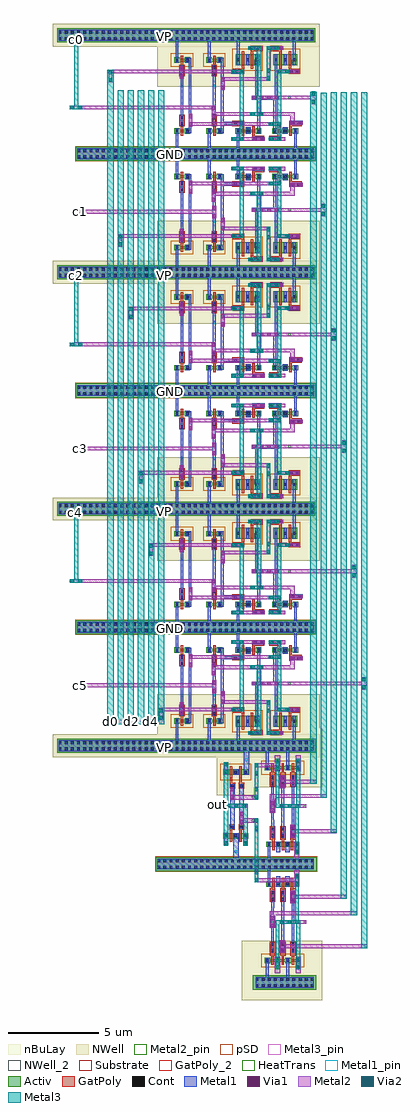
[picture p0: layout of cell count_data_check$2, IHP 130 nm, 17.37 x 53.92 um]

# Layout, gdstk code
from math import pi, radians
import gdstk
lib = gdstk.Library(unit=1e-6, precision=1e-09)
def R(c, l, rs):  # rectangles x0, y0, x1, y1
    for r in rs: c.add(gdstk.rectangle(r[:2], r[2:], *l))
def A(c, l, x, y, w, h, nx, ny, dx, dy):  # array of equal rectangles
    R(c, l, [(x+i*dx, y+j*dy, x+i*dx+w, y+j*dy+h) for i in range(nx) for j in range(ny)])
def P(c, l, *ps):  # polygons
    for p in ps: c.add(gdstk.Polygon(p, *l))
Activ = (1, 0)
GatPoly = (5, 0)
GatPoly_2 = (5, 2)
Cont = (6, 0)
Metal1 = (8, 0)
Metal1_pin = (8, 2)
Metal2 = (10, 0)
Metal2_pin = (10, 2)
pSD = (14, 0)
Via1 = (19, 0)
Via2 = (29, 0)
Metal3 = (30, 0)
Metal3_pin = (30, 2)
NWell = (31, 0)
NWell_2 = (31, 2)
nBuLay = (32, 0)
Substrate = (40, 0)
HeatTrans = (51, 0)

via_4_7_2 = lib.new_cell('Via$4$7$2')
R(via_4_7_2, Metal1, [(-0.105,-0.35,0.105,0.35)])
R(via_4_7_2, Metal2, [(-0.1,-0.35,0.1,0.35)])
R(via_4_7_2, Via1, [(-0.095,-0.3,0.095,-0.11), (-0.095,0.11,0.095,0.3)])

via_7_5_2 = lib.new_cell('Via$7$5$2')
R(via_7_5_2, Metal2, [(-0.1,-0.555,0.1,0.555)])
A(via_7_5_2, Via2, -0.095, -0.505, 0.19, 0.19, 1, 3, 0, 0.41)
R(via_7_5_2, Metal3, [(-0.1,-0.555,0.1,0.555)])

nmos_4_3_2 = lib.new_cell('nmos$4$3$2')
A(nmos_4_3_2, Activ, 0, 0, 0.3, 0.3, 4, 1, 0.51, 0)
R(nmos_4_3_2, Activ, [(0,0,1.83,0.3)])
A(nmos_4_3_2, GatPoly, 0.34, -0.18, 0.13, 0.66, 3, 1, 0.51, 0)
R(nmos_4_3_2, GatPoly_2, [(0.34,-0.18,0.47,0.48)])
A(nmos_4_3_2, Cont, 0.07, 0.07, 0.16, 0.16, 4, 1, 0.51, 0)
A(nmos_4_3_2, Metal1, 0.07, 0, 0.16, 0.3, 4, 1, 0.51, 0)
R(nmos_4_3_2, Metal1_pin, [(0.07,0,0.23,0.3), (0.58,0,0.74,0.3)])
A(nmos_4_3_2, HeatTrans, 0.34, -0.18, 0.13, 0.66, 3, 1, 0.51, 0)
nmos_4_3_2.add(gdstk.Label('nmos', (0.405,0.15), layer=63, texttype=0))
nmos_4_3_2.add(gdstk.Label('nmos', (0.405,0.15), layer=51, texttype=0))
nmos_4_3_2.add(gdstk.Label('nmos', (0.915,0.15), layer=51, texttype=0))
nmos_4_3_2.add(gdstk.Label('nmos', (1.425,0.15), layer=51, texttype=0))

ntap1_1_8 = lib.new_cell('ntap1$1$8')
R(ntap1_1_8, Activ, [(0,0,3.5,0.78)])
A(ntap1_1_8, Cont, 0.14, 0.14, 0.16, 0.16, 10, 2, 0.34, 0.34)
R(ntap1_1_8, Metal1, [(0.14,0.09,3.36,0.69)])
R(ntap1_1_8, Metal1_pin, [(0.14,0.09,3.36,0.69), (0.14,0.14,3.36,0.64)])
R(ntap1_1_8, NWell, [(-0.24,-0.24,3.74,1.02), (0,0,3.5,0.78)])
R(ntap1_1_8, NWell_2, [(0,0,3.5,0.78)])
ntap1_1_8.add(gdstk.Label('well', (1.75,0.01), layer=63, texttype=0))
ntap1_1_8.add(gdstk.Label('well', (1.75,0.01), layer=31, texttype=0))

ptap1_3_5_2 = lib.new_cell('ptap1$3$5$2')
R(ptap1_3_5_2, Activ, [(0,0,3.5,0.78)])
A(ptap1_3_5_2, Cont, 0.14, 0.14, 0.16, 0.16, 10, 2, 0.34, 0.34)
R(ptap1_3_5_2, Metal1, [(0.14,0.09,3.36,0.69), (0.14,0.14,3.36,0.64)])
R(ptap1_3_5_2, Metal1_pin, [(0.14,0.14,3.36,0.64)])
R(ptap1_3_5_2, pSD, [(-0.03,-0.03,3.53,0.81)])
R(ptap1_3_5_2, Substrate, [(0,0,3.5,0.78)])
ptap1_3_5_2.add(gdstk.Label('sub!', (1.75,0.01), layer=63, texttype=0))
ptap1_3_5_2.add(gdstk.Label('sub!', (1.75,0.01), layer=40, texttype=0))

via_5_7_2 = lib.new_cell('Via$5$7$2')
R(via_5_7_2, Metal2, [(-0.1,-0.35,0.1,0.35)])
R(via_5_7_2, Via2, [(-0.095,-0.3,0.095,-0.11), (-0.095,0.11,0.095,0.3)])
R(via_5_7_2, Metal3, [(-0.1,-0.35,0.1,0.35)])

via_6_5_2 = lib.new_cell('Via$6$5$2')
R(via_6_5_2, GatPoly, [(-0.32,-0.15,0.32,0.15)])
R(via_6_5_2, Cont, [(-0.25,-0.08,-0.09,0.08), (0.09,-0.08,0.25,0.08)])
R(via_6_5_2, Metal1, [(-0.3,-0.08,0.3,0.08)])

pmos_1_5_2 = lib.new_cell('pmos$1$5$2')
A(pmos_1_5_2, Activ, 0, 0, 0.3, 0.3, 4, 1, 0.57, 0)
R(pmos_1_5_2, Activ, [(0,0.075,2.01,0.225)])
A(pmos_1_5_2, GatPoly, 0.37, -0.105, 0.13, 0.51, 3, 1, 0.57, 0)
A(pmos_1_5_2, Cont, 0.07, 0.07, 0.16, 0.16, 4, 1, 0.57, 0)
A(pmos_1_5_2, Metal1, 0.07, 0.02, 0.16, 0.26, 4, 1, 0.57, 0)
R(pmos_1_5_2, pSD, [(-0.18,-0.225,2.19,0.525)])
R(pmos_1_5_2, NWell, [(-0.31,-0.31,2.32,0.61)])
R(pmos_1_5_2, Substrate, [(1.71,0,2.01,0.3)])
A(pmos_1_5_2, HeatTrans, 0.37, -0.105, 0.13, 0.51, 3, 1, 0.57, 0)
pmos_1_5_2.add(gdstk.Label('pmos', (0.435,0.15), layer=63, texttype=0))
pmos_1_5_2.add(gdstk.Label('pmos', (0.435,0.15), layer=51, texttype=0))
pmos_1_5_2.add(gdstk.Label('pmos', (1.005,0.15), layer=51, texttype=0))
pmos_1_5_2.add(gdstk.Label('pmos', (1.575,0.15), layer=51, texttype=0))

nand_3in_nmosx3_5_2 = lib.new_cell('NAND_3in_nmosx3$5$2')
R(nand_3in_nmosx3_5_2, GatPoly, [(0.115,-3.025,0.245,-2.915), (0.685,-3.025,0.815,-2.915), (0.035,-3.005,0.335,-2.895), (0.605,-3.005,0.905,-2.895), (1.165,-3.005,1.465,-2.895), (0.03,0.58,0.33,0.73), (0.6,0.58,0.9,0.73), (1.16,0.58,1.46,0.73), (0.68,0.68,0.81,0.77), (1.25,0.68,1.38,0.77)])
R(nand_3in_nmosx3_5_2, Metal1, [(-0.095,-4.15,0.065,-3.37), (0.375,-3.675,0.615,-3.415), (0.885,-3.675,1.125,-3.415), (0.375,-3.435,0.615,-3.095), (0.885,-3.435,1.125,-3.095), (0.67,-2.44,0.835,-2.09), (0.1,-2.42,0.265,-1.91), (0.67,-2.21,0.83,-1.27), (1.23,-2.21,1.39,-1.27), (0.1,-1.91,0.26,-0.56), (0.67,-1.31,0.83,-0.37), (1.23,-1.31,1.39,-0.37), (0.1,-0.62,0.26,-0.04), (1.23,-0.53,1.39,0), (0.67,-0.37,0.83,-0.11), (0.95,1,1.11,1.2), (-0.19,1.01,-0.03,1.15), (-0.19,1.115,-0.03,1.99), (0.95,1.115,1.11,1.94)])
R(nand_3in_nmosx3_5_2, Metal1_pin, [(0.44,-4.405,0.57,-4.275), (0.74,2.15,0.87,2.28)])
R(nand_3in_nmosx3_5_2, Metal2, [(1.375,-3.995,1.665,-3.795), (1.375,-3.795,1.665,-3.095), (1.155,-2.875,1.455,-2.175), (0.03,-1.51,0.33,-0.81), (1.62,-1.24,2.05,-1.04), (0.59,-0.14,0.89,0.56), (0.31,0.78,0.6,0.98), (1.45,0.78,1.74,0.98), (0.31,0.98,0.6,1.68), (1.45,0.98,1.74,1.68)])
R(nand_3in_nmosx3_5_2, Metal2_pin, [(1.255,-2.385,1.385,-2.255), (0.11,-1.215,0.24,-1.085), (1.905,-1.205,2.035,-1.075), (0.69,-0.07,0.82,0.06)])
R(nand_3in_nmosx3_5_2, Metal3, [(1.425,-3.105,1.625,-2.905), (1.425,-2.905,1.625,-2.5), (1.425,-2.5,1.625,-1.15), (0.36,-1.24,0.56,-0.97), (0.38,-1.24,0.565,-1.04), (1.66,-1.24,1.7,-1.09), (1.5,-1.09,1.7,0.17), (0.36,-0.97,0.56,0.26), (1.5,-0.03,1.7,0.62), (0.36,0.08,0.56,0.78), (1.5,0.62,1.7,0.72), (1.5,0.71,1.7,0.87)])
R(nand_3in_nmosx3_5_2, NWell, [(-1.52,-0.1,-0.85,3.17), (-0.85,-0.1,2.93,3.17)])
nand_3in_nmosx3_5_2.add(gdstk.Reference(via_4_7_2, (1.525,-3.445), rotation=pi))
nand_3in_nmosx3_5_2.add(gdstk.Reference(via_4_7_2, (1.315,-2.525), rotation=pi))
nand_3in_nmosx3_5_2.add(gdstk.Reference(via_4_7_2, (0.18,-1.16), rotation=pi))
nand_3in_nmosx3_5_2.add(gdstk.Reference(via_4_7_2, (0.75,0.21), rotation=pi))
nand_3in_nmosx3_5_2.add(gdstk.Reference(via_4_7_2, (0.46,1.13), rotation=pi))
nand_3in_nmosx3_5_2.add(gdstk.Reference(via_4_7_2, (1.6,1.13), rotation=pi))
nand_3in_nmosx3_5_2.add(gdstk.Reference(via_7_5_2, (1.12,-1.14), rotation=3*pi/2))
nand_3in_nmosx3_5_2.add(gdstk.Reference(nmos_4_3_2, (1.665,-3.095), rotation=pi))
nand_3in_nmosx3_5_2.add(gdstk.Reference(ntap1_1_8, (-0.9,1.81)))
nand_3in_nmosx3_5_2.add(gdstk.Reference(ptap1_3_5_2, (-0.89,-4.73)))
nand_3in_nmosx3_5_2.add(gdstk.Reference(via_5_7_2, (1.525,-3.445), rotation=pi))
nand_3in_nmosx3_5_2.add(gdstk.Reference(via_5_7_2, (0.46,1.13), rotation=pi))
nand_3in_nmosx3_5_2.add(gdstk.Reference(via_5_7_2, (1.6,1.13), rotation=pi))
nand_3in_nmosx3_5_2.add(gdstk.Reference(via_6_5_2, (0.185,-2.575), rotation=3*pi/2))
nand_3in_nmosx3_5_2.add(gdstk.Reference(via_6_5_2, (0.755,-2.575), rotation=3*pi/2))
nand_3in_nmosx3_5_2.add(gdstk.Reference(via_6_5_2, (1.315,-2.575), rotation=3*pi/2))
nand_3in_nmosx3_5_2.add(gdstk.Reference(via_6_5_2, (0.18,0.26), rotation=3*pi/2))
nand_3in_nmosx3_5_2.add(gdstk.Reference(via_6_5_2, (0.75,0.26), rotation=3*pi/2))
nand_3in_nmosx3_5_2.add(gdstk.Reference(via_6_5_2, (1.31,0.26), rotation=3*pi/2))
nand_3in_nmosx3_5_2.add(gdstk.Reference(pmos_1_5_2, (1.75,1.13), rotation=pi))
nand_3in_nmosx3_5_2.add(gdstk.Label('VP', (0.8,2.21), layer=8, texttype=25))
nand_3in_nmosx3_5_2.add(gdstk.Label('GND', (0.505,-4.335), layer=8, texttype=25))
nand_3in_nmosx3_5_2.add(gdstk.Label('y', (1.97,-1.14), layer=10, texttype=25))
nand_3in_nmosx3_5_2.add(gdstk.Label('b', (0.76,0.02), layer=10, texttype=25))
nand_3in_nmosx3_5_2.add(gdstk.Label('c', (0.17,-1.15), layer=10, texttype=25))
nand_3in_nmosx3_5_2.add(gdstk.Label('a', (1.315,-2.325), layer=10, texttype=25))

via_17_2 = lib.new_cell('Via$17$2')
R(via_17_2, Metal2, [(-0.35,-0.1,0.35,0.1)])
R(via_17_2, Via2, [(-0.3,-0.095,-0.11,0.095), (0.11,-0.095,0.3,0.095)])
R(via_17_2, Metal3, [(-0.35,-0.1,0.35,0.1)])

pmos_13_2 = lib.new_cell('pmos$13$2')
R(pmos_13_2, Activ, [(0,0,0.3,0.3), (0.57,0,0.87,0.3), (0,0.075,0.87,0.225)])
R(pmos_13_2, GatPoly, [(0.37,-0.105,0.5,0.405), (0.37,-0.105,0.5,0.405)])
R(pmos_13_2, Cont, [(0.07,0.07,0.23,0.23), (0.64,0.07,0.8,0.23)])
R(pmos_13_2, Metal1, [(0.07,0.02,0.23,0.28), (0.07,0.02,0.23,0.28), (0.64,0.02,0.8,0.28), (0.64,0.02,0.8,0.28)])
R(pmos_13_2, pSD, [(-0.18,-0.225,1.05,0.525)])
R(pmos_13_2, NWell, [(-0.31,-0.31,1.18,0.61)])
R(pmos_13_2, Substrate, [(0.57,0,0.87,0.3)])
R(pmos_13_2, HeatTrans, [(0.37,-0.105,0.5,0.405)])
pmos_13_2.add(gdstk.Label('pmos', (0.435,0.15), layer=63, texttype=0))
pmos_13_2.add(gdstk.Label('pmos', (0.435,0.15), layer=51, texttype=0))

ntap1_18_2 = lib.new_cell('ntap1$18$2')
R(ntap1_18_2, Activ, [(0,0,8.5,0.78)])
A(ntap1_18_2, Cont, 0.09, 0.14, 0.16, 0.16, 25, 2, 0.34, 0.34)
R(ntap1_18_2, Metal1, [(0.09,0.09,8.41,0.69)])
R(ntap1_18_2, Metal1_pin, [(0.09,0.09,8.41,0.69), (0.09,0.14,8.41,0.64)])
R(ntap1_18_2, NWell, [(-0.24,-0.24,8.74,1.02), (0,0,8.5,0.78)])
R(ntap1_18_2, NWell_2, [(0,0,8.5,0.78)])
R(ntap1_18_2, nBuLay, [(-0.24,-0.24,8.74,1.02)])
ntap1_18_2.add(gdstk.Label('well', (4.25,0.01), layer=63, texttype=0))
ntap1_18_2.add(gdstk.Label('well', (4.25,0.01), layer=31, texttype=0))

pmos_3_5_2 = lib.new_cell('pmos$3$5$2')
A(pmos_3_5_2, Activ, 0, 0, 0.3, 0.3, 3, 1, 0.51, 0)
R(pmos_3_5_2, Activ, [(0,0,1.32,0.6)])
R(pmos_3_5_2, GatPoly, [(0.34,-0.18,0.47,0.78), (0.34,-0.18,0.47,0.78), (0.85,-0.18,0.98,0.78)])
A(pmos_3_5_2, Cont, 0.07, 0.22, 0.16, 0.16, 3, 1, 0.51, 0)
R(pmos_3_5_2, Metal1, [(0.07,0,0.23,0.6), (0.07,0,0.23,0.6), (0.58,0,0.74,0.6), (0.58,0,0.74,0.6), (1.09,0,1.25,0.6)])
R(pmos_3_5_2, pSD, [(-0.18,-0.3,1.5,0.9)])
R(pmos_3_5_2, NWell, [(-0.31,-0.31,1.63,0.91)])
R(pmos_3_5_2, Substrate, [(1.02,0,1.32,0.3)])
R(pmos_3_5_2, HeatTrans, [(0.34,-0.18,0.47,0.78), (0.85,-0.18,0.98,0.78)])
pmos_3_5_2.add(gdstk.Label('pmos', (0.405,0.3), layer=63, texttype=0))
pmos_3_5_2.add(gdstk.Label('pmos', (0.405,0.3), layer=51, texttype=0))
pmos_3_5_2.add(gdstk.Label('pmos', (0.915,0.3), layer=51, texttype=0))

nmos_14_2 = lib.new_cell('nmos$14$2')
R(nmos_14_2, Activ, [(0,0,0.3,0.3), (0.57,0,0.87,0.3), (0,0.075,0.87,0.225)])
R(nmos_14_2, GatPoly, [(0.37,-0.105,0.5,0.405)])
R(nmos_14_2, GatPoly_2, [(0.37,-0.105,0.5,0.405)])
R(nmos_14_2, Cont, [(0.07,0.07,0.23,0.23), (0.64,0.07,0.8,0.23)])
R(nmos_14_2, Metal1, [(0.07,0.02,0.23,0.28), (0.64,0.02,0.8,0.28)])
R(nmos_14_2, Metal1_pin, [(0.07,0.02,0.23,0.28), (0.64,0.02,0.8,0.28)])
R(nmos_14_2, HeatTrans, [(0.37,-0.105,0.5,0.405)])
nmos_14_2.add(gdstk.Label('nmos', (0.435,0.15), layer=63, texttype=0))
nmos_14_2.add(gdstk.Label('nmos', (0.435,0.15), layer=51, texttype=0))

nmos_5_6_2 = lib.new_cell('nmos$5$6$2')
A(nmos_5_6_2, Activ, 0, 0, 0.3, 0.3, 3, 1, 0.57, 0)
R(nmos_5_6_2, Activ, [(0,0.075,1.44,0.225)])
R(nmos_5_6_2, GatPoly, [(0.37,-0.105,0.5,0.405), (0.94,-0.105,1.07,0.405)])
R(nmos_5_6_2, GatPoly_2, [(0.37,-0.105,0.5,0.405)])
A(nmos_5_6_2, Cont, 0.07, 0.07, 0.16, 0.16, 3, 1, 0.57, 0)
A(nmos_5_6_2, Metal1, 0.07, 0.02, 0.16, 0.26, 3, 1, 0.57, 0)
R(nmos_5_6_2, Metal1_pin, [(0.07,0.02,0.23,0.28), (0.64,0.02,0.8,0.28)])
R(nmos_5_6_2, HeatTrans, [(0.37,-0.105,0.5,0.405), (0.94,-0.105,1.07,0.405)])
nmos_5_6_2.add(gdstk.Label('nmos', (0.435,0.15), layer=63, texttype=0))
nmos_5_6_2.add(gdstk.Label('nmos', (0.435,0.15), layer=51, texttype=0))
nmos_5_6_2.add(gdstk.Label('nmos', (1.005,0.15), layer=51, texttype=0))

via_6_7_2 = lib.new_cell('Via$6$7$2')
R(via_6_7_2, GatPoly, [(-0.15,-0.32,0.15,0.32)])
R(via_6_7_2, Cont, [(-0.08,-0.25,0.08,-0.09), (-0.08,0.09,0.08,0.25)])
R(via_6_7_2, Metal1, [(-0.08,-0.3,0.08,0.3)])

via_7_7_2 = lib.new_cell('Via$7$7$2')
R(via_7_7_2, Metal1, [(-0.76,-0.105,0.76,0.105)])
R(via_7_7_2, Metal2, [(-0.76,-0.1,0.76,0.1)])
A(via_7_7_2, Via1, -0.71, -0.095, 0.19, 0.19, 4, 1, 0.41, 0)

via_9_5_2 = lib.new_cell('Via$9$5$2')
R(via_9_5_2, Metal1, [(-0.35,-0.105,0.35,0.105)])
R(via_9_5_2, Metal2, [(-0.35,-0.1,0.35,0.1)])
R(via_9_5_2, Via1, [(-0.3,-0.095,-0.11,0.095), (0.11,-0.095,0.3,0.095)])

via_19_2 = lib.new_cell('Via$19$2')
R(via_19_2, Metal2, [(-0.35,-0.1,0.35,0.1)])
R(via_19_2, Via2, [(-0.3,-0.095,-0.11,0.095), (0.11,-0.095,0.3,0.095)])
R(via_19_2, Metal3, [(-0.35,-0.1,0.35,0.1)])

ptap1_11_2 = lib.new_cell('ptap1$11$2')
R(ptap1_11_2, Activ, [(0,0,8.5,0.78)])
A(ptap1_11_2, Cont, 0.09, 0.14, 0.16, 0.16, 25, 2, 0.34, 0.34)
R(ptap1_11_2, Metal1, [(0.09,0.09,8.41,0.69), (0.09,0.14,8.41,0.64)])
R(ptap1_11_2, Metal1_pin, [(0.09,0.14,8.41,0.64)])
R(ptap1_11_2, pSD, [(-0.03,-0.03,8.53,0.81)])
R(ptap1_11_2, Substrate, [(0,0,8.5,0.78)])
ptap1_11_2.add(gdstk.Label('sub!', (4.25,0.01), layer=63, texttype=0))
ptap1_11_2.add(gdstk.Label('sub!', (4.25,0.01), layer=40, texttype=0))

xnor_5_2 = lib.new_cell('XNOR$5$2')
R(xnor_5_2, GatPoly, [(5.14,-5.055,5.24,-4.76), (6.64,-5.055,6.74,-4.76), (7.18,-4.34,7.31,-4.24), (4.57,-4.275,4.7,-4.175), (7.18,-4.25,7.31,-3.935), (4.68,-4.24,4.7,-3.94)])
R(xnor_5_2, Metal1, [(2.68,-5.94,2.84,-4.95), (7.45,-5.94,7.61,-4.98), (0.9,-5.86,1.06,-5.03), (4.27,-5.77,4.43,-4.955), (4.27,-5.275,4.43,-4.635), (0.9,-5.155,1.06,-4.575), (2.68,-5.155,2.84,-4.575), (7.45,-5.145,7.61,-4.635), (4.78,-4.665,5.01,-4.615), (5.01,-4.665,5.06,-4.305), (6.82,-4.665,7.05,-4.615), (7.05,-4.665,7.1,-4.305), (1.63,-4.635,1.78,-4.375), (3.41,-4.635,3.56,-4.375), (4.78,-4.615,5.01,-4.355), (6.82,-4.615,7.05,-4.355), (5.41,-4.46,5.57,-4.32), (6.31,-4.44,6.47,-4.25), (1.62,-4.385,1.78,-2.985), (3.4,-4.385,3.56,-2.985), (5.41,-4.375,5.57,-3.715), (6.31,-4.375,6.47,-3.715), (4.78,-4.355,5.01,-4.305), (6.82,-4.355,7.05,-4.305), (3.4,-4.17,4.06,-4.01), (1.18,-3.825,1.34,-2.425), (2.96,-3.825,3.12,-2.425), (5.41,-3.795,5.57,-3.135), (6.31,-3.795,6.47,-3.135), (6.31,-3.725,6.47,-3.065), (5.41,-3.715,5.57,-3.055), (1.62,-3.38,1.78,-1.78), (5.41,-3.3,5.57,-2.67), (3.4,-3.24,3.56,-1.48), (6.31,-3.24,6.47,-2.67), (5.31,-2.775,5.47,-2.09), (6.37,-2.67,6.53,-2.05), (2.96,-2.55,3.12,-1.53), (1.18,-2.51,1.34,-1.5), (5.31,-2.09,5.47,-1.09), (6.37,-2.09,6.53,-1.09), (1.62,-2.04,1.78,-0.64), (3.4,-2.04,3.56,-0.64), (1.62,-1.86,1.78,-0.46), (3.4,-1.86,3.56,-0.46), (1.18,-1.56,1.34,-1.44), (2.96,-1.56,3.12,-1.44), (6.37,-1.33,6.53,-0.87), (5.31,-1.31,5.47,-0.87), (0.9,-0.57,1.06,-0.38), (2.68,-0.55,2.84,-0.38), (0.9,-0.46,1.06,0.39), (2.68,-0.46,2.84,0.39), (4.29,-0.37,4.45,-0.25), (7.39,-0.37,7.55,-0.23), (4.29,-0.27,4.45,0.49), (7.39,-0.27,7.55,0.51), (2.68,0.27,2.84,0.79), (0.9,0.39,1.06,0.75)])
P(xnor_5_2, Metal1, [(0.9,-0.4),(0.9,-0.4),(0.9,-0.4),(0.9,-0.4)])
R(xnor_5_2, Metal1_pin, [(4.265,-5.825,4.395,-5.695), (1.195,-2.1,1.325,-1.97), (2.975,-2.08,3.105,-1.95), (4.205,0.695,4.335,0.825)])
R(xnor_5_2, Metal2, [(4.68,-5.05,5.4,-4.85), (6.05,-5.045,6.81,-4.845), (6.64,-5.045,6.96,-4.845), (1.64,-4.225,4.15,-4.025), (3.97,-4.225,6.48,-4.025), (7.24,-4.05,7.48,-3.95), (7.24,-3.955,7.48,-3.485), (2.91,-3.665,5.42,-3.465), (4.97,-3.665,7.48,-3.465), (6.32,-2.77,7.32,-2.57), (3.59,-1.74,6.1,-1.54), (1.23,-1.33,3.74,-1.13), (1.48,-1.33,3.99,-1.13), (6.605,-1.31,7.07,-1.11)])
R(xnor_5_2, Metal2_pin, [(7.135,-2.735,7.265,-2.605)])
R(xnor_5_2, Metal3, [(6.51,-5.04,6.75,-3.035), (4.44,-4.905,4.68,-2.225), (6.51,-4.22,6.75,-2.215), (5.39,-3.635,5.63,-0.955), (6.51,-2.31,6.75,-1.22), (4.44,-2.225,4.68,-1.33), (5.93,-1.11,6.13,-1.01), (5.93,-1.03,6.13,0.16), (5.39,-0.955,5.63,0.07)])
R(xnor_5_2, NWell, [(-0.11,-2.08,8.87,0.37), (0.18,-1.74,8.17,0.76)])
xnor_5_2.add(gdstk.Reference(pmos_13_2, (2.61,-0.75)))
xnor_5_2.add(gdstk.Reference(ntap1_18_2, (0.13,0.38)))
xnor_5_2.add(gdstk.Reference(pmos_3_5_2, (6.3,-0.88)))
xnor_5_2.add(gdstk.Reference(nmos_14_2, (2.61,-4.66)))
xnor_5_2.add(gdstk.Reference(nmos_5_6_2, (4.2,-4.66)))
xnor_5_2.add(gdstk.Reference(nmos_5_6_2, (6.24,-4.66)))
xnor_5_2.add(gdstk.Reference(pmos_13_2, (0.83,-0.75)))
xnor_5_2.add(gdstk.Reference(pmos_3_5_2, (4.22,-0.88)))
xnor_5_2.add(gdstk.Reference(nmos_14_2, (0.83,-4.66)))
xnor_5_2.add(gdstk.Reference(via_6_7_2, (1.26,-3.94)))
xnor_5_2.add(gdstk.Reference(via_6_7_2, (1.26,-1.17)))
xnor_5_2.add(gdstk.Reference(via_6_7_2, (7.47,-1.21), rotation=pi/2))
xnor_5_2.add(gdstk.Reference(via_6_7_2, (5.39,0.05), rotation=pi/2))
xnor_5_2.add(gdstk.Reference(via_6_7_2, (6.45,0.05), rotation=pi/2))
xnor_5_2.add(gdstk.Reference(via_6_7_2, (5.48,-4.91), rotation=pi/2))
xnor_5_2.add(gdstk.Reference(via_6_7_2, (7.54,-4.09), rotation=pi/2))
xnor_5_2.add(gdstk.Reference(via_6_7_2, (4.36,-4.09), rotation=pi/2))
xnor_5_2.add(gdstk.Reference(via_6_7_2, (4.37,-1.21), rotation=pi/2))
xnor_5_2.add(gdstk.Reference(via_7_7_2, (5.87,-2.67)))
xnor_5_2.add(gdstk.Reference(via_6_7_2, (6.4,-4.91), rotation=pi/2))
xnor_5_2.add(gdstk.Reference(via_6_7_2, (3.04,-3.94)))
xnor_5_2.add(gdstk.Reference(via_6_7_2, (3.04,-1.17)))
xnor_5_2.add(gdstk.Reference(via_9_5_2, (1.24,-1.28), rotation=pi/2))
xnor_5_2.add(gdstk.Reference(via_9_5_2, (4.34,-1.23), rotation=pi))
xnor_5_2.add(gdstk.Reference(via_19_2, (4.33,-1.23)))
xnor_5_2.add(gdstk.Reference(via_19_2, (4.33,-4.95)))
xnor_5_2.add(gdstk.Reference(via_9_5_2, (5.48,-4.95)))
xnor_5_2.add(gdstk.Reference(via_9_5_2, (6.4,-4.95)))
xnor_5_2.add(gdstk.Reference(via_9_5_2, (1.73,-3.92), rotation=pi/2))
xnor_5_2.add(gdstk.Reference(via_19_2, (6.4,-4.95)))
xnor_5_2.add(gdstk.Reference(via_19_2, (6.4,-4.13)))
xnor_5_2.add(gdstk.Reference(via_9_5_2, (7.42,-1.22)))
xnor_5_2.add(gdstk.Reference(via_9_5_2, (3.01,-3.46), rotation=pi/2))
xnor_5_2.add(gdstk.Reference(via_9_5_2, (7.59,-4.06)))
xnor_5_2.add(gdstk.Reference(via_19_2, (5.39,-3.57)))
xnor_5_2.add(gdstk.Reference(via_19_2, (5.28,0.07)))
xnor_5_2.add(gdstk.Reference(via_19_2, (6.86,-1.22)))
xnor_5_2.add(gdstk.Reference(via_9_5_2, (3.51,-1.89), rotation=pi/2))
xnor_5_2.add(gdstk.Reference(via_19_2, (6.03,-1.39), rotation=pi/2))
xnor_5_2.add(gdstk.Reference(via_9_5_2, (5.34,0.07)))
xnor_5_2.add(gdstk.Reference(via_9_5_2, (6.5,0.07)))
xnor_5_2.add(gdstk.Reference(via_19_2, (6.28,0.07)))
xnor_5_2.add(gdstk.Reference(ptap1_11_2, (0.14,-6.16)))
xnor_5_2.add(gdstk.Label('GND', (4.33,-5.76), layer=8, texttype=25))
xnor_5_2.add(gdstk.Label('VP', (4.27,0.76), layer=8, texttype=25))
xnor_5_2.add(gdstk.Label('a', (1.26,-2.03), layer=8, texttype=25))
xnor_5_2.add(gdstk.Label('b', (3.04,-2.01), layer=8, texttype=25))
xnor_5_2.add(gdstk.Label('y', (7.2,-2.67), layer=10, texttype=25))

via_16_2 = lib.new_cell('Via$16$2')
R(via_16_2, Metal1, [(-0.35,-0.105,0.35,0.105)])
R(via_16_2, Metal2, [(-0.35,-0.1,0.35,0.1)])
R(via_16_2, Via1, [(-0.3,-0.095,-0.11,0.095), (0.11,-0.095,0.3,0.095)])

ntap1_16_2 = lib.new_cell('ntap1$16$2')
R(ntap1_16_2, Activ, [(0,0,7.8,0.78)])
A(ntap1_16_2, Cont, 0.08, 0.14, 0.16, 0.16, 23, 2, 0.34, 0.34)
R(ntap1_16_2, Metal1, [(0.08,0.09,7.72,0.69)])
R(ntap1_16_2, Metal1_pin, [(0.08,0.09,7.72,0.69), (0.08,0.14,7.72,0.64)])
R(ntap1_16_2, NWell, [(-0.24,-0.24,8.04,1.02), (0,0,7.8,0.78)])
R(ntap1_16_2, NWell_2, [(0,0,7.8,0.78)])
R(ntap1_16_2, nBuLay, [(-0.24,-0.24,8.04,1.02)])
ntap1_16_2.add(gdstk.Label('well', (3.9,0.01), layer=63, texttype=0))
ntap1_16_2.add(gdstk.Label('well', (3.9,0.01), layer=31, texttype=0))

ptap1_8_2 = lib.new_cell('ptap1$8$2')
R(ptap1_8_2, Activ, [(0,0,7.8,0.78)])
A(ptap1_8_2, Cont, 0.08, 0.14, 0.16, 0.16, 23, 2, 0.34, 0.34)
R(ptap1_8_2, Metal1, [(0.08,0.09,7.72,0.69), (0.08,0.14,7.72,0.64)])
R(ptap1_8_2, Metal1_pin, [(0.08,0.14,7.72,0.64)])
R(ptap1_8_2, pSD, [(-0.03,-0.03,7.83,0.81)])
R(ptap1_8_2, Substrate, [(0,0,7.8,0.78)])
ptap1_8_2.add(gdstk.Label('sub!', (3.9,0.01), layer=63, texttype=0))
ptap1_8_2.add(gdstk.Label('sub!', (3.9,0.01), layer=40, texttype=0))

via_20_1 = lib.new_cell('Via$20$1')
R(via_20_1, Metal2, [(-0.1,-0.35,0.1,0.35)])
R(via_20_1, Via2, [(-0.095,-0.3,0.095,-0.11), (-0.095,0.11,0.095,0.3)])
R(via_20_1, Metal3, [(-0.1,-0.35,0.1,0.35)])

pmos_18 = lib.new_cell('pmos$18')
R(pmos_18, Activ, [(0,0,0.3,0.3), (0,0,0.83,0.3), (0.53,0,0.83,0.3)])
R(pmos_18, GatPoly, [(0.34,-0.18,0.49,0.48), (0.34,-0.18,0.49,0.48)])
R(pmos_18, Cont, [(0.07,0.07,0.23,0.23), (0.6,0.07,0.76,0.23)])
R(pmos_18, Metal1, [(0.07,0,0.23,0.3), (0.07,0,0.23,0.3), (0.6,0,0.76,0.3), (0.6,0,0.76,0.3)])
R(pmos_18, pSD, [(-0.18,-0.3,1.01,0.6)])
R(pmos_18, NWell, [(-0.31,-0.31,1.14,0.61)])
R(pmos_18, Substrate, [(0.53,0,0.83,0.3)])
R(pmos_18, HeatTrans, [(0.34,-0.18,0.49,0.48)])
pmos_18.add(gdstk.Label('pmos', (0.415,0.15), layer=63, texttype=0))
pmos_18.add(gdstk.Label('pmos', (0.415,0.15), layer=51, texttype=0))

ntap1_23 = lib.new_cell('ntap1$23')
R(ntap1_23, Activ, [(0,0,1.6,0.78)])
A(ntap1_23, Cont, 0.21, 0.14, 0.16, 0.16, 4, 2, 0.34, 0.34)
R(ntap1_23, Metal1, [(0.21,0.09,1.39,0.69)])
R(ntap1_23, Metal1_pin, [(0.21,0.09,1.39,0.69), (0.21,0.14,1.39,0.64)])
R(ntap1_23, NWell, [(-0.24,-0.24,1.84,1.02), (0,0,1.6,0.78)])
R(ntap1_23, NWell_2, [(0,0,1.6,0.78)])
R(ntap1_23, nBuLay, [(-0.24,-0.24,1.84,1.02)])
ntap1_23.add(gdstk.Label('well', (0.8,0.01), layer=63, texttype=0))
ntap1_23.add(gdstk.Label('well', (0.8,0.01), layer=31, texttype=0))

via_5_12 = lib.new_cell('Via$5$12')
R(via_5_12, GatPoly, [(-0.15,-0.15,0.15,0.15)])
R(via_5_12, Cont, [(-0.08,-0.08,0.08,0.08)])
R(via_5_12, Metal1, [(-0.13,-0.08,0.13,0.08)])

via_6_12 = lib.new_cell('Via$6$12')
R(via_6_12, Metal1, [(-0.105,-0.35,0.105,0.35)])
R(via_6_12, Metal2, [(-0.1,-0.35,0.1,0.35)])
R(via_6_12, Via1, [(-0.095,-0.3,0.095,-0.11), (-0.095,0.11,0.095,0.3)])

ptap1_16 = lib.new_cell('ptap1$16')
R(ptap1_16, Activ, [(0,0,1.6,0.78)])
A(ptap1_16, Cont, 0.21, 0.14, 0.16, 0.16, 4, 2, 0.34, 0.34)
R(ptap1_16, Metal1, [(0.21,0.09,1.39,0.69), (0.21,0.14,1.39,0.64)])
R(ptap1_16, Metal1_pin, [(0.21,0.14,1.39,0.64)])
R(ptap1_16, pSD, [(-0.03,-0.03,1.63,0.81)])
R(ptap1_16, Substrate, [(0,0,1.6,0.78)])
ptap1_16.add(gdstk.Label('sub!', (0.8,0.01), layer=63, texttype=0))
ptap1_16.add(gdstk.Label('sub!', (0.8,0.01), layer=40, texttype=0))

nmos_19 = lib.new_cell('nmos$19')
R(nmos_19, Activ, [(0,0,0.3,0.3), (0,0,0.83,0.3), (0.53,0,0.83,0.3)])
R(nmos_19, GatPoly, [(0.34,-0.18,0.49,0.48)])
R(nmos_19, GatPoly_2, [(0.34,-0.18,0.49,0.48)])
R(nmos_19, Cont, [(0.07,0.07,0.23,0.23), (0.6,0.07,0.76,0.23)])
R(nmos_19, Metal1, [(0.07,0,0.23,0.3), (0.6,0,0.76,0.3)])
R(nmos_19, Metal1_pin, [(0.07,0,0.23,0.3), (0.6,0,0.76,0.3)])
R(nmos_19, HeatTrans, [(0.34,-0.18,0.49,0.48)])
nmos_19.add(gdstk.Label('nmos', (0.415,0.15), layer=63, texttype=0))
nmos_19.add(gdstk.Label('nmos', (0.415,0.15), layer=51, texttype=0))

via_25_1 = lib.new_cell('Via$25$1')
R(via_25_1, Metal2, [(-0.1,-0.35,0.1,0.35)])
R(via_25_1, Via2, [(-0.095,-0.3,0.095,-0.11), (-0.095,0.11,0.095,0.3)])
R(via_25_1, Metal3, [(-0.1,-0.35,0.1,0.35)])

via_7_12 = lib.new_cell('Via$7$12')
R(via_7_12, Metal2, [(-0.555,-0.1,0.555,0.1)])
A(via_7_12, Via2, -0.505, -0.095, 0.19, 0.19, 3, 1, 0.41, 0)
R(via_7_12, Metal3, [(-0.555,-0.1,0.555,0.1)])

nor_2in_4 = lib.new_cell('NOR_2in$4')
R(nor_2in_4, GatPoly, [(4.19,0.13,4.34,0.41), (4.72,0.14,4.87,0.41)])
R(nor_2in_4, Metal1, [(3.82,-4.64,5.18,-4.04), (4.38,0.59,4.68,0.89)])
R(nor_2in_4, Metal1_pin, [(4.475,-3.705,4.605,-3.575), (5.065,1.365,5.195,1.495)])
R(nor_2in_4, Metal2, [(3.4,-1.23,5.105,-1)])
R(nor_2in_4, Metal2_pin, [(5.415,-2.005,5.545,-1.875), (3.405,-1.185,3.535,-1.055), (5.415,-0.715,5.545,-0.585)])
R(nor_2in_4, NWell, [(3.48,-0.55,5.56,2.93)])
nor_2in_4.add(gdstk.FlexPath([(5.13,0.59),(5.13,2.5)], 0.3, ends="flush", simple_path=True, layer=8, datatype=0))  # Metal1
nor_2in_4.add(gdstk.FlexPath([(4.85,0.07),(4.85,-2.38)], 0.25, ends="flush", simple_path=True, layer=8, datatype=0))  # Metal1
nor_2in_4.add(gdstk.FlexPath([(4.34,0.07),(4.34,-2.38)], 0.25, ends="flush", simple_path=True, layer=8, datatype=0))  # Metal1
nor_2in_4.add(gdstk.FlexPath([(4.54,-2.63),(4.54,-4.04)], 0.3, ends="flush", simple_path=True, layer=8, datatype=0))  # Metal1
nor_2in_4.add(gdstk.FlexPath([(3.995,-2.62),(3.995,-3.32)], 0.25, ends="flush", simple_path=True, layer=10, datatype=0))  # Metal2
nor_2in_4.add(gdstk.FlexPath([(5.06,-2.63),(5.06,-3.33)], 0.25, ends="flush", simple_path=True, layer=10, datatype=0))  # Metal2
nor_2in_4.add(gdstk.FlexPath([(4,1.29),(4,0.59)], 0.25, ends="flush", simple_path=True, layer=10, datatype=0))  # Metal2
nor_2in_4.add(gdstk.FlexPath([(4.23,-0.65),(5.56,-0.65)], 0.25, ends="flush", simple_path=True, layer=10, datatype=0))  # Metal2
nor_2in_4.add(gdstk.FlexPath([(4.745,-1.945),(5.56,-1.945)], 0.25, ends="flush", simple_path=True, layer=10, datatype=0))  # Metal2
nor_2in_4.add(gdstk.FlexPath([(4,-3.32),(4,1.29)], 0.25, ends="flush", simple_path=True, layer=30, datatype=0))  # Metal3
nor_2in_4.add(gdstk.FlexPath([(5.055,-3.33),(5.055,-1)], 0.25, ends="flush", simple_path=True, layer=30, datatype=0))  # Metal3
nor_2in_4.add(gdstk.Reference(pmos_18, (5.21,0.59), rotation=pi, x_reflection=True))
nor_2in_4.add(gdstk.Reference(pmos_18, (4.68,0.59), rotation=pi, x_reflection=True))
nor_2in_4.add(gdstk.Reference(ntap1_23, (5.32,1.81), rotation=pi, x_reflection=True))
nor_2in_4.add(gdstk.Reference(via_5_12, (4.85,-0.01), rotation=pi, x_reflection=True))
nor_2in_4.add(gdstk.Reference(via_5_12, (4.34,-0.01), rotation=pi, x_reflection=True))
nor_2in_4.add(gdstk.Reference(via_5_12, (4.85,-2.3), rotation=pi, x_reflection=True))
nor_2in_4.add(gdstk.Reference(via_5_12, (4.33,-2.3), rotation=pi, x_reflection=True))
nor_2in_4.add(gdstk.Reference(via_6_12, (4.845,-1.79), rotation=pi, x_reflection=True))
nor_2in_4.add(gdstk.Reference(via_6_12, (4.325,-0.44), rotation=pi, x_reflection=True))
nor_2in_4.add(gdstk.Reference(ptap1_16, (5.32,-4.73), rotation=pi, x_reflection=True))
nor_2in_4.add(gdstk.Reference(nmos_19, (5.21,-2.93), rotation=pi, x_reflection=True))
nor_2in_4.add(gdstk.Reference(nmos_19, (4.68,-2.93), rotation=pi, x_reflection=True))
nor_2in_4.add(gdstk.Reference(via_25_1, (4,0.94), rotation=pi, x_reflection=True))
nor_2in_4.add(gdstk.Reference(via_6_12, (3.995,0.94), rotation=pi, x_reflection=True))
nor_2in_4.add(gdstk.Reference(via_25_1, (4,-2.97), rotation=pi, x_reflection=True))
nor_2in_4.add(gdstk.Reference(via_6_12, (3.995,-2.97), rotation=pi, x_reflection=True))
nor_2in_4.add(gdstk.Reference(via_25_1, (5.06,-2.98), rotation=pi, x_reflection=True))
nor_2in_4.add(gdstk.Reference(via_6_12, (5.055,-2.98), rotation=pi, x_reflection=True))
nor_2in_4.add(gdstk.Reference(via_7_12, (4.575,-1.12), rotation=pi, x_reflection=True))
nor_2in_4.add(gdstk.Label('gd', (4.54,-3.64), layer=8, texttype=25))
nor_2in_4.add(gdstk.Label('vp', (5.13,1.43), layer=8, texttype=25))
nor_2in_4.add(gdstk.Label('Out', (3.55,-1.12), layer=10, texttype=25))
nor_2in_4.add(gdstk.Label('A', (5.48,-0.65), layer=10, texttype=25))
nor_2in_4.add(gdstk.Label('B', (5.48,-1.94), layer=10, texttype=25))

count_data_check_2 = lib.new_cell('count_data_check$2')
R(count_data_check_2, Metal1_pin, [(15.9,-8.04,16,-7.94), (16.26,-1.45,16.36,-1.35), (15.9,5.03,16,5.13), (16.26,11.66,16.36,11.76), (15.9,18.06,16,18.16), (16.26,24.72,16.36,24.82), (15.9,31.28,16,31.38)])
A(count_data_check_2, Metal2, 11.24, -4.64, 0.15, 0.2, 1, 3, 0, 13.08)
A(count_data_check_2, Metal2, 11.39, -4.64, 7.29, 0.2, 1, 3, 0, 13.08)
R(count_data_check_2, Metal2, [(22.425,-19.08,27.18,-18.86), (21.8,-17.25,24.775,-17.03), (24.775,-17.25,26.62,-17.03), (23.085,-16.345,26.06,-16.125), (20.97,-15.425,21.26,-15.205), (21.26,-15.425,23.39,-15.205), (22.985,-12.72,25.5,-12.5), (20.94,-12.15,21.16,-11.9), (21.8,-10.89,22.1,-10.77), (20.95,-10.855,21.16,-10.605), (21.8,-10.77,22.425,-10.55), (22.425,-10.77,24.38,-10.55), (24.38,-10.77,24.94,-10.55), (22.425,-9.98,24.38,-9.76), (20.96,-9.06,22.325,-8.84), (15.63,-5.98,17.68,-5.78), (22.68,-4.54,23.5,-4.34), (23.5,-4.54,27.18,-4.34), (11.05,1.12,18.67,1.325), (22.65,1.66,26.62,1.86), (15.07,3.1,17.12,3.3), (17.12,3.1,19.49,3.3), (14.51,7.1,16.56,7.3), (16.56,7.1,18.93,7.3), (22.825,8.54,26.06,8.705), (22.87,8.68,26.06,8.74), (11.05,14.195,18.67,14.4), (22.86,14.74,25.5,14.94), (13.95,16.18,16,16.38), (16,16.18,18.37,16.38), (13.39,20.18,15.44,20.38), (15.44,20.18,17.81,20.38), (22.94,21.62,24.94,21.82), (11.05,27.275,18.67,27.48), (23.01,27.82,24.38,28.02), (12.83,29.26,14.88,29.46), (14.88,29.26,17.25,29.46)])
R(count_data_check_2, Metal2_pin, [(18.79,-11.31,19,-11.08), (11.24,-4.64,11.45,-4.44), (11.24,8.44,11.48,8.64), (11.24,21.52,11.45,21.72)])
A(count_data_check_2, Metal3, 12.83, 28.12, 0.34, 0.2, 6, 1, 0.56, 0)
R(count_data_check_2, Metal3, [(26.84,-19.08,27.18,-18.97), (26.84,-18.97,27.18,-6.69), (26.28,-17.25,26.62,-17.24), (26.28,-17.24,26.62,-6.69), (25.72,-16.345,26.06,-16.19), (25.72,-16.19,26.06,-6.69), (20.96,-14.73,21.16,-12.6), (25.16,-12.7,25.5,-11.82), (25.16,-11.82,25.5,-6.69), (24.6,-10.77,24.94,-10.54), (24.6,-10.54,24.94,-6.69), (20.96,-10.16,21.16,-8.84), (24.04,-9.98,24.38,-9.76), (24.04,-9.76,24.38,-6.69), (12.83,-6.69,13.17,28.24), (13.39,-6.69,13.73,28.18), (13.95,-6.69,14.29,28.22), (14.51,-6.69,14.85,28.21), (15.07,-6.69,15.41,28.21), (15.63,-6.69,15.97,28.22), (24.04,-6.69,24.38,28.24), (24.6,-6.69,24.94,28.18), (25.16,-6.69,25.5,28.22), (25.72,-6.69,26.06,28.21), (26.28,-6.69,26.62,28.21), (26.84,-6.69,27.18,28.22), (10.99,1.315,11.21,4.76), (10.99,4.76,11.21,5.09), (10.99,14.2,11.21,17.8), (10.99,15.32,11.21,17.96), (10.99,17.96,11.21,18.18), (10.99,27.43,11.21,31.03), (12.83,28.32,13.17,29.46), (10.99,31.03,11.21,31.25)])
R(count_data_check_2, Metal3_pin, [(15.15,-6.64,15.32,-6.5), (15.7,-6.62,15.87,-6.45), (12.9,-6.61,13.09,-6.45), (14.63,-6.61,14.78,-6.48), (13.46,-6.6,13.66,-6.45), (14.06,-6.59,14.21,-6.46), (10.99,4.895,11.21,5.085), (10.99,17.98,11.21,18.18), (10.99,31.055,11.21,31.245)])
count_data_check_2.add(gdstk.Reference(nand_3in_nmosx3_5_2, (21.77,-10.08)))
count_data_check_2.add(gdstk.Reference(via_17_2, (11.1,31.15)))
count_data_check_2.add(gdstk.Reference(via_17_2, (11.1,27.375)))
count_data_check_2.add(gdstk.Reference(via_17_2, (11.1,18.08)))
count_data_check_2.add(gdstk.Reference(via_17_2, (11.1,14.29)))
count_data_check_2.add(gdstk.Reference(via_17_2, (11.1,4.99)))
count_data_check_2.add(gdstk.Reference(via_17_2, (11.1,1.22)))
count_data_check_2.add(gdstk.Reference(xnor_5_2, (15.69,17.51)))
count_data_check_2.add(gdstk.Reference(xnor_5_2, (15.69,5.97), x_reflection=True))
count_data_check_2.add(gdstk.Reference(xnor_5_2, (15.69,-7.11), x_reflection=True))
count_data_check_2.add(gdstk.Reference(via_17_2, (13,29.11), rotation=3*pi/2))
count_data_check_2.add(gdstk.Reference(via_17_2, (14.12,16.03), rotation=3*pi/2))
count_data_check_2.add(gdstk.Reference(via_17_2, (13.56,20.03), rotation=3*pi/2))
count_data_check_2.add(gdstk.Reference(via_17_2, (14.68,6.95), rotation=3*pi/2))
count_data_check_2.add(gdstk.Reference(via_17_2, (15.24,2.95), rotation=3*pi/2))
count_data_check_2.add(gdstk.Reference(via_17_2, (15.8,-6.13), rotation=3*pi/2))
count_data_check_2.add(gdstk.Reference(via_16_2, (18.73,21.6), rotation=3*pi/2))
count_data_check_2.add(gdstk.Reference(via_16_2, (18.725,8.51), rotation=3*pi/2))
count_data_check_2.add(gdstk.Reference(via_16_2, (18.73,-4.62), rotation=3*pi/2))
count_data_check_2.add(gdstk.Reference(ntap1_16_2, (10.05,30.97)))
count_data_check_2.add(gdstk.Reference(ntap1_16_2, (10.05,17.89)))
count_data_check_2.add(gdstk.Reference(ntap1_16_2, (10.05,4.81)))
count_data_check_2.add(gdstk.Reference(ntap1_16_2, (10.05,-8.27)))
count_data_check_2.add(gdstk.Reference(ptap1_8_2, (11.08,24.43)))
count_data_check_2.add(gdstk.Reference(xnor_5_2, (15.69,30.59)))
count_data_check_2.add(gdstk.Reference(xnor_5_2, (15.69,19.05), x_reflection=True))
count_data_check_2.add(gdstk.Reference(nand_3in_nmosx3_5_2, (21.77,-18.76), x_reflection=True))
count_data_check_2.add(gdstk.Reference(xnor_5_2, (15.69,4.43)))
count_data_check_2.add(gdstk.Reference(via_20_1, (24.21,27.92)))
count_data_check_2.add(gdstk.Reference(ptap1_8_2, (11.08,11.35)))
count_data_check_2.add(gdstk.Reference(ptap1_8_2, (11.08,-1.73)))
count_data_check_2.add(gdstk.Reference(via_20_1, (24.77,21.72)))
count_data_check_2.add(gdstk.Reference(via_20_1, (25.33,14.84)))
count_data_check_2.add(gdstk.Reference(via_20_1, (25.89,8.64)))
count_data_check_2.add(gdstk.Reference(via_20_1, (26.45,1.76)))
count_data_check_2.add(gdstk.Reference(via_20_1, (27.01,-4.44)))
count_data_check_2.add(gdstk.Reference(ptap1_8_2, (15.5,-14.81)))
count_data_check_2.add(gdstk.Reference(nor_2in_4, (15.39,-10.08)))
count_data_check_2.add(gdstk.Reference(via_17_2, (21.06,-12.25), rotation=3*pi/2))
count_data_check_2.add(gdstk.Reference(via_17_2, (21.06,-10.51), rotation=3*pi/2))
count_data_check_2.add(gdstk.Reference(via_17_2, (21.06,-9.19), rotation=3*pi/2))
count_data_check_2.add(gdstk.Reference(via_17_2, (21.06,-15.08), rotation=3*pi/2))
count_data_check_2.add(gdstk.Label('VP', (15.97,31.32), layer=8, texttype=2))
count_data_check_2.add(gdstk.Label('VP', (15.97,18.1), layer=8, texttype=2))
count_data_check_2.add(gdstk.Label('VP', (15.97,5.07), layer=8, texttype=2))
count_data_check_2.add(gdstk.Label('VP', (15.97,-8), layer=8, texttype=2))
count_data_check_2.add(gdstk.Label('GND', (16.33,24.76), layer=8, texttype=2))
count_data_check_2.add(gdstk.Label('GND', (16.33,11.7), layer=8, texttype=2))
count_data_check_2.add(gdstk.Label('GND', (16.33,-1.41), layer=8, texttype=2))
count_data_check_2.add(gdstk.Label('c5', (11.35,-4.55), layer=10, texttype=2))
count_data_check_2.add(gdstk.Label('c3', (11.315,8.54), layer=10, texttype=2))
count_data_check_2.add(gdstk.Label('c1', (11.315,21.62), layer=10, texttype=2))
count_data_check_2.add(gdstk.Label('out', (18.93,-11.13), layer=10, texttype=2))
count_data_check_2.add(gdstk.Label('d0', (12.99,-6.55), layer=30, texttype=2))
count_data_check_2.add(gdstk.Label('d1', (13.56,-6.55), layer=30, texttype=2))
count_data_check_2.add(gdstk.Label('d2', (14.135,-6.525), layer=30, texttype=2))
count_data_check_2.add(gdstk.Label('d3', (14.705,-6.545), layer=30, texttype=2))
count_data_check_2.add(gdstk.Label('d4', (15.21,-6.56), layer=30, texttype=2))
count_data_check_2.add(gdstk.Label('d5', (15.81,-6.56), layer=30, texttype=2))
count_data_check_2.add(gdstk.Label('c0', (11.1,31.14), layer=30, texttype=2))
count_data_check_2.add(gdstk.Label('c2', (11.1,18.1), layer=30, texttype=2))
count_data_check_2.add(gdstk.Label('c4', (11.09,4.98), layer=30, texttype=2))

lib.write_gds('count_data_check_2.gds')
